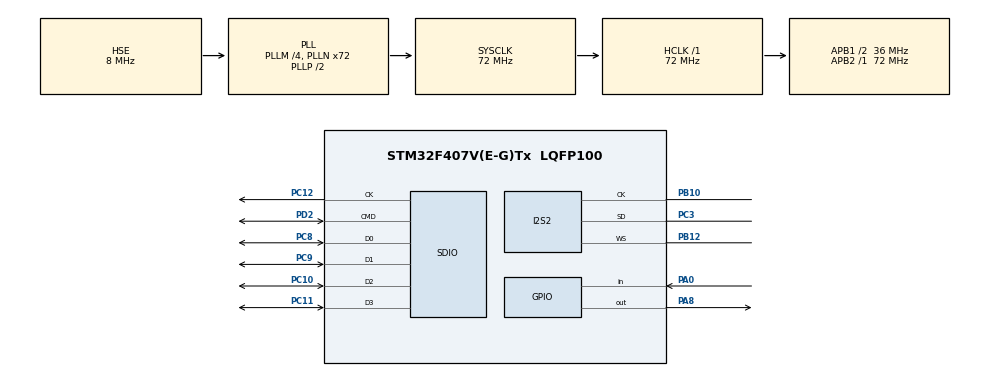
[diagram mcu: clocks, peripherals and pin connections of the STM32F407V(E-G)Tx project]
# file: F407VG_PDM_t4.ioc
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Dma.Request0=SPI2_RX
Dma.SPI2_RX.0.Direction=DMA_PERIPH_TO_MEMORY
Dma.SPI2_RX.0.FIFOMode=DMA_FIFOMODE_DISABLE
Dma.SPI2_RX.0.Instance=DMA1_Stream3
Dma.SPI2_RX.0.MemDataAlignment=DMA_MDATAALIGN_HALFWORD
Dma.SPI2_RX.0.MemInc=DMA_MINC_ENABLE
Dma.SPI2_RX.0.Mode=DMA_CIRCULAR
Dma.SPI2_RX.0.PeriphDataAlignment=DMA_PDATAALIGN_HALFWORD
Dma.SPI2_RX.0.PeriphInc=DMA_PINC_DISABLE
Dma.SPI2_RX.0.Priority=DMA_PRIORITY_LOW
FATFS.USE_DMA_CODE_SD=0
I2S2.AudioFreq=I2S_AUDIOFREQ_32K
I2S2.CPOL=I2S_CPOL_HIGH
I2S2.ErrorAudioFreq=-0.35 %
I2S2.FullDuplexMode=I2S_FULLDUPLEXMODE_DISABLE
I2S2.Instance=SPI$Index
I2S2.Mode=I2S_MODE_MASTER_RX
I2S2.RealAudioFreq=31.887 KHz
I2S2.Standard=I2S_STANDARD_LSB
I2S2.VirtualMode=I2S_MODE_MASTER
Mcu.Family=STM32F4
Mcu.Name=STM32F407V(E-G)Tx
Mcu.Package=LQFP100
NVIC.DMA1_Stream3_IRQn=true\:0\:0\:false\:false\:true\:false\:true
NVIC.PriorityGroup=NVIC_PRIORITYGROUP_4
PA0-WKUP.Signal=GPIO_Input
PA13.Mode=Serial_Wire
PA13.Signal=SYS_JTMS-SWDIO
PA14.Mode=Serial_Wire
PA14.Signal=SYS_JTCK-SWCLK
PA8.Signal=GPIO_Output
PB10.Mode=Half_Duplex_Master
PB10.Signal=I2S2_CK
PB12.Mode=Half_Duplex_Master
PB12.Signal=I2S2_WS
PC10.Mode=SD_4_bits_Wide_bus
PC10.Signal=SDIO_D2
PC11.Mode=SD_4_bits_Wide_bus
PC11.Signal=SDIO_D3
PC12.Mode=SD_4_bits_Wide_bus
PC12.Signal=SDIO_CK
PC3.Mode=Half_Duplex_Master
PC3.Signal=I2S2_SD
PC8.Mode=SD_4_bits_Wide_bus
PC8.Signal=SDIO_D0
PC9.Mode=SD_4_bits_Wide_bus
PC9.Signal=SDIO_D1
PD2.Mode=SD_4_bits_Wide_bus
PD2.Signal=SDIO_CMD
PDM2PCM.CHANNEL1_bit_order=PDM_FILTER_BIT_ORDER_LSB
PDM2PCM.CHANNEL1_decimation_factor=PDM_FILTER_DEC_FACTOR_64
PDM2PCM.CHANNEL1_endianness=PDM_FILTER_ENDIANNESS_LE
PDM2PCM.CHANNEL1_high_pass_tap=2122358088
PDM2PCM.CHANNEL1_in_ptr_channels=1
PDM2PCM.CHANNEL1_mic_gain=24
PDM2PCM.CHANNEL1_out_ptr_channels=2
PDM2PCM.CHANNEL1_output_samples_number=16
PH0-OSC_IN.Mode=HSE-External-Clock-Source
PH0-OSC_IN.Signal=RCC_OSC_IN
PH1-OSC_OUT.Mode=HSE-External-Clock-Source
PH1-OSC_OUT.Signal=RCC_OSC_OUT
ProjectManager.HeapSize=0x2000
ProjectManager.StackSize=0x2000
ProjectManager.TargetToolchain=TrueSTUDIO
RCC.48MHZClocksFreq_Value=48000000
RCC.AHBFreq_Value=72000000
RCC.APB1CLKDivider=RCC_HCLK_DIV2
RCC.APB1Freq_Value=36000000
RCC.APB1TimFreq_Value=72000000
RCC.APB2Freq_Value=72000000
RCC.APB2TimFreq_Value=72000000
RCC.CortexFreq_Value=72000000
RCC.HCLKFreq_Value=72000000
RCC.HSE_VALUE=8000000
RCC.HSI_VALUE=16000000
RCC.LSE_VALUE=32768
RCC.PLLI2SN=50
RCC.PLLM=4
RCC.PLLN=72
RCC.PLLQ=3
RCC.PLLSourceVirtual=RCC_PLLSOURCE_HSE
RCC.SYSCLKFreq_VALUE=72000000
RCC.SYSCLKSource=RCC_SYSCLKSOURCE_PLLCLK
RCC.VCOOutputFreq_Value=144000000
SDIO.ClockDiv=2
SDIO.HardwareFlowControl=SDIO_HARDWARE_FLOW_CONTROL_ENABLE
VP_CRC_VS_CRC.Mode=CRC_Activate
VP_FATFS_VS_SDIO.Mode=SDIO
VP_PDM2PCM_VS_PDM2PCM.Mode=PDM2PCM_Channel
board=custom

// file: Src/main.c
/* USER CODE BEGIN Header */
/**
  ******************************************************************************
  * @file           : main.c
  * @brief          : Main program body
  ******************************************************************************
  * @attention
  *
  * <h2><center>&copy; Copyright (c) 2019 STMicroelectronics.
  * All rights reserved.</center></h2>
  *
  * This software component is licensed by ST under Ultimate Liberty license
  * SLA0044, the "License"; You may not use this file except in compliance with
  * the License. You may obtain a copy of the License at:
  *                             www.st.com/SLA0044
  *
  ******************************************************************************
  */
/* USER CODE END Header */

#include "main.h"
#include "crc.h"
#include "dma.h"
#include "fatfs.h"
#include "i2s.h"
#include "pdm2pcm.h"
#include "sdio.h"
#include "gpio.h"

void SystemClock_Config(void);

/* USER CODE BEGIN 0 */
static void FAT_Application(void);
/* USER CODE END 0 */

int main(void)
{

  /* MCU Configuration--------------------------------------------------------*/

  /* Reset of all peripherals, Initializes the Flash interface and the Systick. */
  HAL_Init();

  /* Configure the system clock */
  SystemClock_Config();

  /* Initialize all configured peripherals */
  MX_GPIO_Init();
  MX_DMA_Init();
  MX_CRC_Init();
  MX_I2S2_Init();
  MX_PDM2PCM_Init();
  MX_SDIO_SD_Init();
  MX_FATFS_Init();
  /* USER CODE BEGIN 2 */
  while(HAL_GPIO_ReadPin(GPIOA, GPIO_PIN_0) == GPIO_PIN_RESET);

  FAT_Application();
  WaveRecorderProcess();
  /* USER CODE END 2 */

  /* Infinite loop */
  while (1)
  {

  }
}

void SystemClock_Config(void)
{
  RCC_OscInitTypeDef RCC_OscInitStruct = {0};
  RCC_ClkInitTypeDef RCC_ClkInitStruct = {0};
  RCC_PeriphCLKInitTypeDef PeriphClkInitStruct = {0};

  /** Configure the main internal regulator output voltage
  */
  __HAL_RCC_PWR_CLK_ENABLE();
  __HAL_PWR_VOLTAGESCALING_CONFIG(PWR_REGULATOR_VOLTAGE_SCALE1);
  /** Initializes the CPU, AHB and APB busses clocks
  */
  RCC_OscInitStruct.OscillatorType = RCC_OSCILLATORTYPE_HSE;
  RCC_OscInitStruct.HSEState = RCC_HSE_BYPASS;
  RCC_OscInitStruct.PLL.PLLState = RCC_PLL_ON;
  RCC_OscInitStruct.PLL.PLLSource = RCC_PLLSOURCE_HSE;
  RCC_OscInitStruct.PLL.PLLM = 4;
  RCC_OscInitStruct.PLL.PLLN = 72;
  RCC_OscInitStruct.PLL.PLLP = RCC_PLLP_DIV2;
  RCC_OscInitStruct.PLL.PLLQ = 3;
  if (HAL_RCC_OscConfig(&RCC_OscInitStruct) != HAL_OK)
  {
    Error_Handler();
  }
  /** Initializes the CPU, AHB and APB busses clocks
  */
  RCC_ClkInitStruct.ClockType = RCC_CLOCKTYPE_HCLK|RCC_CLOCKTYPE_SYSCLK
                              |RCC_CLOCKTYPE_PCLK1|RCC_CLOCKTYPE_PCLK2;
  RCC_ClkInitStruct.SYSCLKSource = RCC_SYSCLKSOURCE_PLLCLK;
  RCC_ClkInitStruct.AHBCLKDivider = RCC_SYSCLK_DIV1;
  RCC_ClkInitStruct.APB1CLKDivider = RCC_HCLK_DIV2;
  RCC_ClkInitStruct.APB2CLKDivider = RCC_HCLK_DIV1;

  if (HAL_RCC_ClockConfig(&RCC_ClkInitStruct, FLASH_LATENCY_2) != HAL_OK)
  {
    Error_Handler();
  }
  PeriphClkInitStruct.PeriphClockSelection = RCC_PERIPHCLK_I2S;
  PeriphClkInitStruct.PLLI2S.PLLI2SN = 50;
  PeriphClkInitStruct.PLLI2S.PLLI2SR = 2;
  if (HAL_RCCEx_PeriphCLKConfig(&PeriphClkInitStruct) != HAL_OK)
  {
    Error_Handler();
  }
}

/* USER CODE BEGIN 4 */
uint8_t workBuffer[_MAX_SS];
static void FAT_Application(void)
{
  FRESULT res;                                          /* FatFs function common result code */
  uint32_t byteswritten, bytesread;                     /* File write/read counts */
  uint8_t wtext[] = "This is STM32 working with FatFs"; /* File write buffer */
  uint8_t rtext[100];                                   /* File read buffer */

  /* Register the file system object to the FatFs module */
  if(f_mount(&SDFatFS, (TCHAR const*)SDPath, 0) == FR_OK)
  {
    /* Create the Filesystem the first time the uSD is detected */
    if(f_mkfs(SDPath, FM_ANY, 0, workBuffer, sizeof(workBuffer)) != FR_OK)
    {
      return;
    }
    /* Create and Open a new text file object with write access */
    if(f_open(&SDFile, "STM32.TXT", FA_CREATE_ALWAYS | FA_WRITE) == FR_OK)
    {
      /* Write data to the text file */
      res = f_write(&SDFile, wtext, sizeof(wtext), (void *)&byteswritten);

      if((byteswritten > 0) && (res == FR_OK))
      {
        /* Close the open text file */
        f_close(&SDFile);

        /* Open the text file object with read access */
        if(f_open(&SDFile, "STM32.TXT", FA_READ) == FR_OK)
        {
          /* Read data from the text file */
          res = f_read(&SDFile, rtext, sizeof(rtext), (void *)&bytesread);

          if((bytesread > 0) && (res == FR_OK))
          {
            /* Close the open text file */
            f_close(&SDFile);

            /* Compare read data with the expected data */
            if((bytesread == byteswritten))
            {
              /* Success of the demo: no error occurrence */
              return;
            }
          }
        }
      }
    }
  }

  /* Error */
  Error_Handler();
}

/**
  * @brief  Rx Transfer completed callbacks
  * @param  hi2s: I2S handle
  */
void HAL_I2S_RxCpltCallback(I2S_HandleTypeDef *hi2s)
{
  /* Call the record update function to get the next buffer to fill and its size (size is ignored) */
  BSP_AUDIO_IN_TransferComplete_CallBack();
}

/**
  * @brief  Rx Half Transfer completed callbacks.
  * @param  hi2s: I2S handle
  */
void HAL_I2S_RxHalfCpltCallback(I2S_HandleTypeDef *hi2s)
{
  /* Manage the remaining file size and new address offset: This function
     should be coded by user (its prototype is already declared in stm32f4_discovery_audio.h) */
  BSP_AUDIO_IN_HalfTransfer_CallBack();
}

/* USER CODE END 4 */

void Error_Handler(void)
{
  /* USER CODE BEGIN Error_Handler_Debug */
  /* User can add his own implementation to report the HAL error return state */
  while(1);
  /* USER CODE END Error_Handler_Debug */
}

/************************ (C) COPYRIGHT STMicroelectronics *****END OF FILE****/
